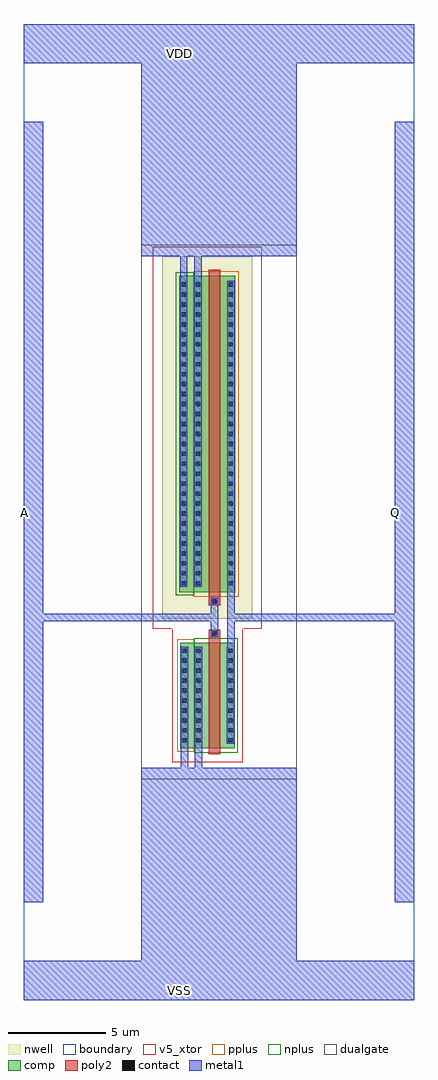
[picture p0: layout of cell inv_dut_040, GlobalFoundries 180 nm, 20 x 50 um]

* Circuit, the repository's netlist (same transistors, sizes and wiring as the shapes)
* inv_dut_040: pfet_05v0 W=16.20u L=0.60u / nfet_05v0 W=5.40u L=0.60u
.SUBCKT inv_dut_040 A Q VDD VSS
MMP Q A VDD VDD pfet_05v0 W=16.20u L=0.60u
MMN Q A VSS VSS nfet_05v0 W=5.40u L=0.60u
.ENDS

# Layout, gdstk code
import gdstk
lib = gdstk.Library(unit=1e-6, precision=1e-09)
def R(c, l, rs):  # rectangles x0, y0, x1, y1
    for r in rs: c.add(gdstk.rectangle(r[:2], r[2:], *l))
def A(c, l, x, y, w, h, nx, ny, dx, dy):  # array of equal rectangles
    R(c, l, [(x+i*dx, y+j*dy, x+i*dx+w, y+j*dy+h) for i in range(nx) for j in range(ny)])
boundary = (0, 0)
nwell = (21, 0)
comp = (22, 0)
poly2 = (30, 0)
pplus = (31, 0)
nplus = (32, 0)
contact = (33, 0)
metal1 = (34, 0)
dualgate = (55, 0)
v5_xtor = (112, 1)

inv_dut_040 = lib.new_cell('inv_dut_040')
R(inv_dut_040, boundary, [(-10,-25,10,25)])
R(inv_dut_040, nwell, [(-2.895,-5.47,1.695,13.09)])
R(inv_dut_040, comp, [(-1.975,-12.1,0.795,-6.7), (-2.035,-4.1,0.835,12.1)])
R(inv_dut_040, poly2, [(-0.535,-12.4,0.065,-6.04), (-0.535,-4.78,0.065,12.4)])
R(inv_dut_040, pplus, [(-2.145,-12.27,-1.265,-6.53), (-1.305,-4.34,1.005,12.34)])
R(inv_dut_040, nplus, [(-1.265,-12.34,0.965,-6.46), (-2.205,-4.27,-1.305,12.27)])
A(inv_dut_040, contact, -1.875, -11.805, 0.22, 0.22, 1, 10, 0, 0.51)
A(inv_dut_040, contact, -1.165, -11.805, 0.22, 0.22, 1, 10, 0, 0.51)
A(inv_dut_040, contact, 0.475, -11.805, 0.22, 0.22, 1, 10, 0, 0.51)
A(inv_dut_040, contact, -1.915, -3.76, 0.22, 0.22, 1, 31, 0, 0.51)
A(inv_dut_040, contact, -1.185, -3.76, 0.22, 0.22, 1, 31, 0, 0.51)
A(inv_dut_040, contact, 0.495, -3.76, 0.22, 0.22, 1, 31, 0, 0.51)
R(inv_dut_040, contact, [(-0.345,-6.33,-0.125,-6.11), (-0.345,-4.7,-0.125,-4.48)])
R(inv_dut_040, metal1, [(-10,-25,10,-23), (-3.995,-23,3.995,-13.4), (-10,-20,-9,20), (9,-20,10,20), (-3.995,-13.7,3.995,-13.1), (-1.955,-13.7,-1.575,-6.915), (-1.245,-13.7,-0.865,-6.915), (-1.955,-11.885,-1.575,-6.915), (-1.245,-11.885,-0.865,-6.915), (0.395,-11.885,0.775,-6.915), (0.395,-7.295,0.795,-6.915), (0.415,-7.295,0.795,-3.46), (-0.425,-6.41,-0.045,-4.4), (-0.425,-6.41,-0.045,-6.03), (-9,-5.6,-3.695,-5.2), (-3.995,-5.6,-0.045,-5.2), (0.415,-5.6,3.995,-5.2), (3.695,-5.6,9,-5.2), (-0.425,-4.78,-0.045,-4.4), (-1.995,-3.84,-1.615,13.7), (-1.995,-3.84,-1.615,11.84), (-1.265,-3.84,-0.885,13.7), (-1.265,-3.84,-0.885,11.84), (0.415,-3.84,0.795,-3.46), (0.415,-3.84,0.795,11.84), (-3.995,13.1,3.995,13.7), (-3.995,13.4,3.995,23), (-10,23,10,25)])
R(inv_dut_040, dualgate, [(-3.995,-13.7,3.995,13.7), (-2.395,-12.81,1.215,-5.62), (-3.395,-5.97,2.195,13.59)])
R(inv_dut_040, v5_xtor, [(-2.395,-12.81,1.215,-5.62), (-3.395,-5.97,2.195,13.59)])
inv_dut_040.add(gdstk.Label('VDD', (-2,23.5), layer=34, texttype=10))
inv_dut_040.add(gdstk.Label('VSS', (-2,-24.5), layer=34, texttype=10))
inv_dut_040.add(gdstk.Label('A', (-9.97,0), layer=34, texttype=10))
inv_dut_040.add(gdstk.Label('Q', (9.03,0), layer=34, texttype=10))

lib.write_gds('inv_dut_040.gds')
